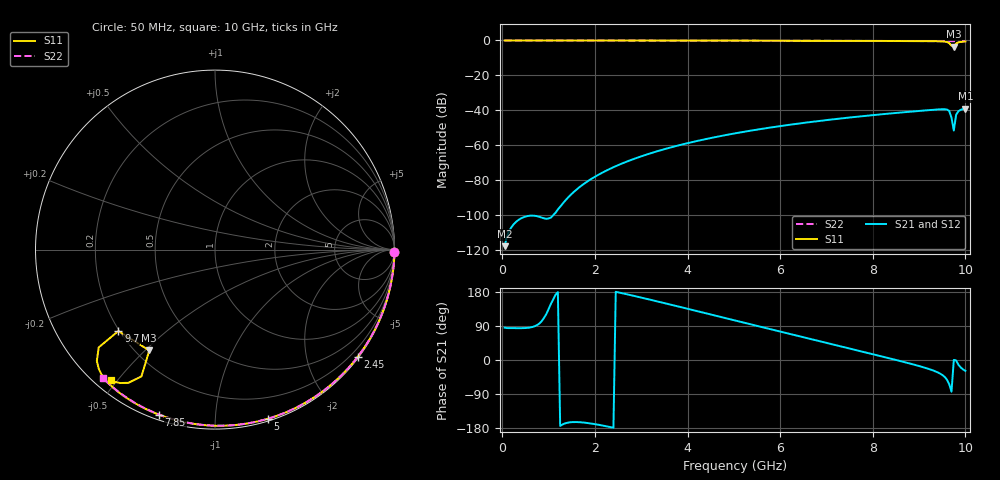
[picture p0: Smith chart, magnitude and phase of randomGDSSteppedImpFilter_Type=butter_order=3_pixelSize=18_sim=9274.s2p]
! freq	dB(S11)	phase(S11)	dB(S12)	phase(S12)
!  dB(S21)	phase(S21)	dB(S22)	phase(S22)
!S-par simulation data
#  GHz  S  DB  R 50
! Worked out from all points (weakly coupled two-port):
!   200 points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, 50 MHz to 10 GHz, reference 50 ohm
!   highest |S21| = -38.92 dB at 10 GHz (marker M1); lowest = -117.6 dB at 50 MHz (marker M2)
!   lowest |S11| = -3.5 dB at 9.75 GHz (marker M3), VSWR 5.07, Z = 12.6 - j25.8 ohm
!   |S11| at or under -10 dB: nowhere
!   |S22| runs from -0.4 to 0.0 dB; largest |S21 - S12| = 0
!   S11 on the Smith chart (normalised r, x): 50 MHz: open; 2.45 GHz: 0.03, -2.99; 5 GHz: 0.02, -1.36; 7.85 GHz: 0.02, -0.72; 9.7 GHz: 0.20, -0.35; 10 GHz: 0.04, -0.48
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0.05  -0.00 -0.8  -117.62 85.4  -117.62 85.4  -0.00 -0.8
0.9  -0.02 -13.8  -101.70 111.1  -101.70 111.1  -0.02 -13.6
1.75  -0.03 -26.6  -82.22 -165.0  -82.22 -165.0  -0.03 -26.2
1.9  -0.04 -28.8  -79.54 -167.3  -79.54 -167.3  -0.04 -28.4
2.45  -0.05 -36.9  -71.88 180.0  -71.88 180.0  -0.05 -36.3
2.9  -0.06 -43.5  -67.18 167.6  -67.18 167.6  -0.06 -42.8
3.4  -0.07 -50.6  -62.92 153.1  -62.92 153.1  -0.07 -49.8
4.15  -0.09 -61.1  -57.81 130.7  -57.81 130.7  -0.08 -60.1
5  -0.11 -72.6  -53.24 105.1  -53.24 105.1  -0.11 -71.4
5.05  -0.11 -73.3  -53.00 103.6  -53.00 103.6  -0.11 -72.1
6.7  -0.18 -94.5  -46.49 54.1  -46.49 54.1  -0.18 -92.9
7.85  -0.25 -108.7  -43.09 19.8  -43.09 19.8  -0.25 -106.7
8.35  -0.29 -114.8  -41.82 4.7  -41.82 4.7  -0.29 -112.5
9.2  -0.39 -126.1  -39.86 -23.3  -39.86 -23.3  -0.36 -122.2
9.4  -0.45 -129.8  -39.45 -32.5  -39.45 -32.5  -0.38 -124.5
9.55  -0.65 -134.3  -39.31 -44.3  -39.31 -44.3  -0.40 -126.2
9.65  -1.45 -139.9  -40.28 -63.6  -40.28 -63.6  -0.41 -127.3
9.7  -3.05 -139.9  -44.19 -83.6  -44.19 -83.6  -0.41 -127.9
9.75  -3.47 -123.1  -51.53 0.3  -51.53 0.3  -0.41 -128.4
9.8  -1.76 -120.1  -42.47 -1.2  -42.47 -1.2  -0.42 -129.0
9.85  -1.06 -123.0  -40.41 -12.7  -40.41 -12.7  -0.43 -129.6
10  -0.61 -128.7  -38.92 -28.7  -38.92 -28.7  -0.44 -131.2
